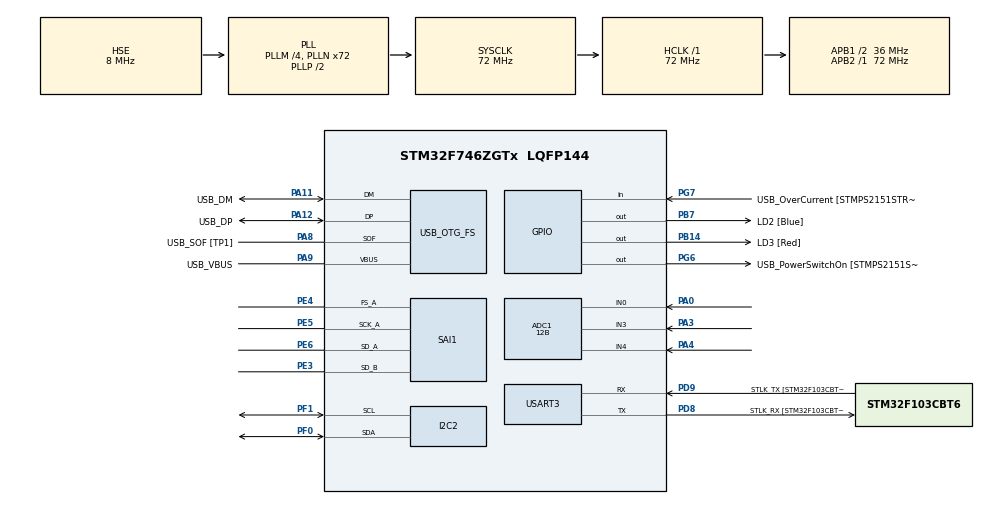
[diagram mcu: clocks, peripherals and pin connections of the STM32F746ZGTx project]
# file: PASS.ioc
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ADC1.Channel-3\#ChannelRegularConversion=ADC_CHANNEL_0
ADC1.Channel-4\#ChannelRegularConversion=ADC_CHANNEL_3
ADC1.Channel-5\#ChannelRegularConversion=ADC_CHANNEL_4
ADC1.ClockPrescaler=ADC_CLOCK_SYNC_PCLK_DIV2
ADC1.ContinuousConvMode=ENABLE
ADC1.DMAContinuousRequests=DISABLE
ADC1.DiscontinuousConvMode=DISABLE
ADC1.EOCSelection=ADC_EOC_SINGLE_CONV
ADC1.NbrOfConversion=3
ADC1.NbrOfConversionFlag=1
ADC1.Rank-3\#ChannelRegularConversion=1
ADC1.Rank-4\#ChannelRegularConversion=2
ADC1.Rank-5\#ChannelRegularConversion=3
ADC1.Resolution=ADC_RESOLUTION_12B
ADC1.SamplingTime-3\#ChannelRegularConversion=ADC_SAMPLETIME_3CYCLES
ADC1.SamplingTime-4\#ChannelRegularConversion=ADC_SAMPLETIME_3CYCLES
ADC1.SamplingTime-5\#ChannelRegularConversion=ADC_SAMPLETIME_3CYCLES
ADC1.master=1
Dma.Request0=SAI1_A
Dma.Request1=SAI1_B
Dma.SAI1_A.0.Direction=DMA_MEMORY_TO_PERIPH
Dma.SAI1_A.0.FIFOMode=DMA_FIFOMODE_DISABLE
Dma.SAI1_A.0.Instance=DMA2_Stream1
Dma.SAI1_A.0.MemDataAlignment=DMA_MDATAALIGN_WORD
Dma.SAI1_A.0.MemInc=DMA_MINC_ENABLE
Dma.SAI1_A.0.Mode=DMA_CIRCULAR
Dma.SAI1_A.0.PeriphDataAlignment=DMA_PDATAALIGN_WORD
Dma.SAI1_A.0.PeriphInc=DMA_PINC_DISABLE
Dma.SAI1_A.0.Priority=DMA_PRIORITY_VERY_HIGH
Dma.SAI1_B.1.Direction=DMA_MEMORY_TO_PERIPH
Dma.SAI1_B.1.FIFOMode=DMA_FIFOMODE_DISABLE
Dma.SAI1_B.1.Instance=DMA2_Stream4
Dma.SAI1_B.1.MemDataAlignment=DMA_MDATAALIGN_WORD
Dma.SAI1_B.1.MemInc=DMA_MINC_ENABLE
Dma.SAI1_B.1.Mode=DMA_CIRCULAR
Dma.SAI1_B.1.PeriphDataAlignment=DMA_PDATAALIGN_WORD
Dma.SAI1_B.1.PeriphInc=DMA_PINC_DISABLE
Dma.SAI1_B.1.Priority=DMA_PRIORITY_VERY_HIGH
I2C2.Speed=20
I2C2.Timing=0x601015E9
Mcu.Family=STM32F7
Mcu.Name=STM32F746ZGTx
Mcu.Package=LQFP144
NVIC.DMA2_Stream1_IRQn=true\:0\:0\:false\:false\:true\:false\:true\:true
NVIC.DMA2_Stream4_IRQn=true\:0\:0\:false\:false\:true\:false\:true\:true
NVIC.PriorityGroup=NVIC_PRIORITYGROUP_4
NVIC.SAI1_IRQn=true\:0\:0\:false\:false\:true\:true\:true\:true
NVIC.USART3_IRQn=true\:0\:0\:false\:false\:true\:true\:true\:true
PA0/WKUP.Signal=ADCx_IN0
PA10.GPIO_Label=USB_ID
PA10.Signal=USB_OTG_FS_ID
PA11.GPIO_Label=USB_DM
PA11.Mode=Device_Only
PA11.Signal=USB_OTG_FS_DM
PA12.GPIO_Label=USB_DP
PA12.Mode=Device_Only
PA12.Signal=USB_OTG_FS_DP
PA13.GPIO_Label=TMS
PA13.Mode=Serial_Wire
PA13.Signal=SYS_JTMS-SWDIO
PA14.GPIO_Label=TCK
PA14.Mode=Serial_Wire
PA14.Signal=SYS_JTCK-SWCLK
PA3.Signal=ADCx_IN3
PA4.Signal=ADCx_IN4
PA8.GPIO_Label=USB_SOF [TP1]
PA8.Mode=Activate_SOF_FS
PA8.Signal=USB_OTG_FS_SOF
PA9.GPIO_Label=USB_VBUS
PA9.Mode=Activate_VBUS
PA9.Signal=USB_OTG_FS_VBUS
PB13.GPIO_Label=RMII_TXD1 [LAN8742A-CZ-TR_TXD1]
PB13.Signal=ETH_TXD1
PB14.GPIO_Label=LD3 [Red]
PB14.GPIO_ModeDefaultOutputPP=GPIO_MODE_OUTPUT_OD
PB14.GPIO_PuPd=GPIO_NOPULL
PB14.Signal=GPIO_Output
PB7.GPIO_Label=LD2 [Blue]
PB7.Signal=GPIO_Output
PC14/OSC32_IN.Mode=LSE-External-Oscillator
PC14/OSC32_IN.Signal=RCC_OSC32_IN
PC15/OSC32_OUT.Mode=LSE-External-Oscillator
PC15/OSC32_OUT.Signal=RCC_OSC32_OUT
PD8.GPIO_Label=STLK_RX [STM32F103CBT6_PA3]
PD8.GPIO_PuPd=GPIO_PULLUP
PD8.Mode=Asynchronous
PD8.Signal=USART3_TX
PD9.GPIO_Label=STLK_TX [STM32F103CBT6_PA2]
PD9.GPIO_PuPd=GPIO_PULLUP
PD9.Mode=Asynchronous
PD9.Signal=USART3_RX
PE3.GPIO_Speed=GPIO_SPEED_FREQ_VERY_HIGH
PE3.Mode=SAI_B_SyncSlave
PE3.Signal=SAI1_SD_B
PE4.GPIO_PuPd=GPIO_NOPULL
PE4.GPIO_Speed=GPIO_SPEED_FREQ_VERY_HIGH
PE4.Mode=SAI_A_Master
PE4.Signal=SAI1_FS_A
PE5.GPIO_Mode=GPIO_MODE_AF_PP
PE5.GPIO_PuPd=GPIO_NOPULL
PE5.GPIO_Speed=GPIO_SPEED_FREQ_VERY_HIGH
PE5.Mode=SAI_A_Master
PE5.Signal=SAI1_SCK_A
PE6.GPIO_PuPd=GPIO_NOPULL
PE6.GPIO_Speed=GPIO_SPEED_FREQ_VERY_HIGH
PE6.Mode=SAI_A_Master
PE6.Signal=SAI1_SD_A
PF0.Mode=I2C
PF0.Signal=I2C2_SDA
PF1.Mode=I2C
PF1.Signal=I2C2_SCL
PG6.GPIO_Label=USB_PowerSwitchOn [STMPS2151STR_EN]
PG6.Signal=GPIO_Output
PG7.GPIO_Label=USB_OverCurrent [STMPS2151STR_FAULT]
PG7.Signal=GPIO_Input
PH0/OSC_IN.GPIO_Label=MCO [STM32F103CBT6_PA8]
PH0/OSC_IN.Mode=HSE-External-Clock-Source
PH0/OSC_IN.Signal=RCC_OSC_IN
PH1/OSC_OUT.Mode=HSE-External-Clock-Source
PH1/OSC_OUT.Signal=RCC_OSC_OUT
ProjectManager.HeapSize=0x200
ProjectManager.StackSize=0x400
ProjectManager.TargetToolchain=STM32CubeIDE
RCC.48MHZClocksFreq_Value=24000000
RCC.AHBFreq_Value=72000000
RCC.APB1CLKDivider=RCC_HCLK_DIV2
RCC.APB1Freq_Value=36000000
RCC.APB1TimFreq_Value=72000000
RCC.APB2Freq_Value=72000000
RCC.APB2TimFreq_Value=72000000
RCC.CortexFreq_Value=72000000
RCC.HCLKFreq_Value=72000000
RCC.HSE_VALUE=8000000
RCC.HSI_VALUE=16000000
RCC.PLLM=4
RCC.PLLMUL=RCC_PLL_MUL9
RCC.PLLN=72
RCC.PLLQ=3
RCC.PLLSAIN=50
RCC.PRESCALERUSB=RCC_USBCLKSOURCE_PLL_DIV1_5
RCC.SYSCLKFreq_VALUE=72000000
RCC.SYSCLKSource=RCC_SYSCLKSOURCE_PLLCLK
RCC.SYSCLKSourceVirtual=RCC_SYSCLKSOURCE_PLLCLK
RCC.USBFreq_Value=48000000
RCC.VCOOutputFreq_Value=144000000
SAI1.ActiveFrameLength-SAI_A_Master=1
SAI1.ActiveFrameLength-SAI_B_SyncSlave=1
SAI1.AudioFrequency-SAI_A_Master=SAI_AUDIO_FREQUENCY_MCKDIV
SAI1.AudioMode-SAI_B_SyncSlave=SAI_MODESLAVE_TX
SAI1.ClockStrobing-SAI_A_Master=SAI_CLOCKSTROBING_FALLINGEDGE
SAI1.ClockStrobing-SAI_B_SyncSlave=SAI_CLOCKSTROBING_RISINGEDGE
SAI1.DataSize-SAI_A_Master=SAI_DATASIZE_16
SAI1.DataSize-SAI_B_SyncSlave=SAI_DATASIZE_16
SAI1.ErrorAudioFreq-SAI_A_Master=1.72 %
SAI1.FSDefinition-SAI_A_Master=SAI_FS_CHANNEL_IDENTIFICATION
SAI1.FSDefinition-SAI_B_SyncSlave=SAI_FS_CHANNEL_IDENTIFICATION
SAI1.FSOffset-SAI_A_Master=SAI_FS_BEFOREFIRSTBIT
SAI1.FSOffset-SAI_B_SyncSlave=SAI_FS_BEFOREFIRSTBIT
SAI1.FSPolarity-SAI_A_Master=SAI_FS_ACTIVE_HIGH
SAI1.FSPolarity-SAI_B_SyncSlave=SAI_FS_ACTIVE_HIGH
SAI1.FrameLength-SAI_A_Master=256
SAI1.FrameLength-SAI_B_SyncSlave=256
SAI1.Instance-SAI_A_Master=SAI$Index_Block_A
SAI1.Instance-SAI_B_SyncSlave=SAI$Index_Block_B
SAI1.MClockEnable-SAI_A_Master=SAI_MASTERCLOCK_DISABLE
SAI1.Mckdiv-SAI_A_Master=7
SAI1.RealAudioFreq-SAI_A_Master=13.95 KHz
SAI1.SlotActive-SAI_A_Master=0x0000FFFF
SAI1.SlotActive-SAI_B_SyncSlave=0x0000FFFF
SAI1.SlotNumber-SAI_A_Master=16
SAI1.SlotNumber-SAI_B_SyncSlave=16
SAI1.VirtualMode-SAI_A_Master=VM_MASTER
SAI1.VirtualMode-SAI_B_SyncSlave=VM_SLAVE
SAI1.VirtualSlotActive-SAI_A_Master=SAI_SLOTACTIVE_ALL
SAI1.VirtualSlotActive-SAI_B_SyncSlave=SAI_SLOTACTIVE_ALL
SH.ADCx_IN0.0=ADC1_IN0,IN0
SH.ADCx_IN3.0=ADC1_IN3,IN3
SH.ADCx_IN4.0=ADC1_IN4,IN4
USART3.VirtualMode-Asynchronous=VM_ASYNC
USB_OTG_FS.VirtualMode=Device_Only
board=NUCLEO-F746ZG

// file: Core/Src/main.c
/* USER CODE BEGIN Header */
/**
  ******************************************************************************
  * @file           : main.c
  * @brief          : Main program body
  ******************************************************************************
  * @attention
  *
  * Copyright (c) 2024 STMicroelectronics.
  * All rights reserved.
  *
  * This software is licensed under terms that can be found in the LICENSE file
  * in the root directory of this software component.
  * If no LICENSE file comes with this software, it is provided AS-IS.
  *
  ******************************************************************************
  */
/* USER CODE END Header */
#include "main.h"

/* USER CODE BEGIN Includes */
#include <string.h>
//#include "stm32f7xx_ll_usart.h"
//#include "stm32f7xx_hal.h"
#include "stm32f7xx_hal_uart.h"
//#include <string.h>
//#include <stdio.h>
//#include <stdlib.h>
//#include <sys/types.h>
//#include <unistd.h>
/* USER CODE END Includes */

ADC_HandleTypeDef hadc1;

I2C_HandleTypeDef hi2c2;

SAI_HandleTypeDef hsai_BlockA1;
SAI_HandleTypeDef hsai_BlockB1;
DMA_HandleTypeDef hdma_sai1_a;
DMA_HandleTypeDef hdma_sai1_b;

UART_HandleTypeDef huart3;

PCD_HandleTypeDef hpcd_USB_OTG_FS;

void SystemClock_Config(void);
void PeriphCommonClock_Config(void);
static void MX_GPIO_Init(void);
static void MX_DMA_Init(void);
static void MX_SAI1_Init(void);
static void MX_USB_OTG_FS_PCD_Init(void);
static void MX_I2C2_Init(void);
static void MX_USART3_UART_Init(void);
static void MX_ADC1_Init(void);

/* USER CODE BEGIN 0 */
#define AUDIO_LOW_BUF_SIZE 180
#define AUDIO_HIGH_BUF_SIZE 15* 20
#define MAX(x, y) (((x) > (y)) ? (x) : (y))
#define MIN(x, y) (((x) < (y)) ? (x) : (y))
uint16_t adc_get[2];
uint32_t sai_fifo_a[16];
uint32_t sai_fifo_b[16];
uint16_t audio_buf_low[AUDIO_LOW_BUF_SIZE];
//uint16_t audio_buf_high[AUDIO_HIGH_BUF_SIZE];
int32_t delay = 0;

// UART SERIAL COMMUNICATION
UART_HandleTypeDef huart3;
//uint8_t receivedData; // Declare receivedData globally
volatile char receivedData;
uint64_t counter = 0;
#define MAX_COMMAND_LENGTH 100
char commandBuffer[MAX_COMMAND_LENGTH];
int commandLength = 0;
int USB_input = 0;
// TEST
volatile uint8_t uart3_rx_byte;

// Function prototypes
static void MX_USART3_UART_Init(void);
void HAL_UART_RxCpltCallback(UART_HandleTypeDef *huart);

uint16_t read_ADC_Channel(ADC_HandleTypeDef* hadc, int channel) {
	ADC_ChannelConfTypeDef chConfig = { 0 };
	chConfig.Channel = channel;
	chConfig.Rank = 1;
	chConfig.SamplingTime = ADC_SAMPLETIME_3CYCLES;
	HAL_ADC_ConfigChannel(hadc, &chConfig);
	HAL_ADC_Start(hadc);
	int status = HAL_ADC_PollForConversion(hadc, HAL_MAX_DELAY);
		  if (status != HAL_OK) {
			Error_Handler();
		  }
	uint16_t val = HAL_ADC_GetValue(hadc);
//	HAL_ADC_Stop(hadc);

	return val;
}

void HAL_SAI_TxCpltCallback(SAI_HandleTypeDef *hsai) {

	static int circ_offset_low = 0;
	static int circ_offset_high = 0;

	if(hsai == &hsai_BlockB1) return;

	__disable_irq();
	adc_get[0] = read_ADC_Channel(&hadc1, 0);
	adc_get[1] = read_ADC_Channel(&hadc1, 3);
	delay = (read_ADC_Channel(&hadc1, 4) - 2000) * 7 / 2048;

//	audio_buf_high[circ_offset_high] = (adc_get[0] << 4) - (1 << 15);
	audio_buf_low[circ_offset_low] = (adc_get[1] << 4) - (1 << 15);

	circ_offset_high = (circ_offset_high + 1) % AUDIO_HIGH_BUF_SIZE;
	circ_offset_low = (circ_offset_low + 1) % AUDIO_LOW_BUF_SIZE;

	int buf_index;
	//Fill the 12 subwoofers
	for(int i = 0; i < 12; i ++) {
		buf_index = (delay * i + (AUDIO_LOW_BUF_SIZE >> 1) + circ_offset_low) % AUDIO_LOW_BUF_SIZE;
		buf_index = MAX(buf_index, 0);
		sai_fifo_a[i] = audio_buf_low[buf_index];
	}
	//Fill the first 4 tweeters into the remaining space in DAC 1
//	for(int i = 12; i < 16; i ++) {
//		buf_index = delay * i + (AUDIO_HIGH_BUF_SIZE >> 1);
//		buf_index = MIN(AUDIO_HIGH_BUF_SIZE, MAX(buf_index, 0));
//		sai_fifo_a[i] = audio_buf_high[buf_index];
//	}
//	//Fill the remaining 16 tweeters into DAC 2
//	for(int i = 16; i < 32; i ++) {
//		buf_index = delay * i + (AUDIO_HIGH_BUF_SIZE  >> 1);
//		buf_index = MIN(AUDIO_HIGH_BUF_SIZE, MAX(buf_index, 0));
//		sai_fifo_b[i - 16] = audio_buf_high[buf_index];
//	}
	__enable_irq();
////	char msg[100];
////	sprintf(msg, "adc1 is %d; ", adc_get[0]);
////
////	char msg1[100];
////	sprintf(msg1, "adc2 is %d\r\n", adc_get[1]);
////	HAL_UART_Transmit(&huart3, msg, strlen((char*)msg), HAL_MAX_DELAY);
////	HAL_UART_Transmit(&huart3, msg1, strlen((char*)msg1), HAL_MAX_DELAY);

}

#define DAC1_ADDR 0x04
#define DAC2_ADDR 0x24
#define DAC_MUTE1 0x09
#define PLL_CLK_CTRL0 0x00
#define DAC_CTRL0 0x06
#define DAC_CTRL1 0x07
#define DAC_CTRL2 0x08

uint8_t mute_data_DAC1 = 0x0;	//0 is normal operation, 1 is muted
uint8_t mute_data_DAC2 = 0x0;
uint8_t pll_clk_data = 0b01000001; //assert reset and pllin = 01 to use DLRCLK reference
uint8_t dac_ctrl0 = 0b01100000;
uint8_t dac_ctrl1 = 0b10000100;
uint8_t dac_ctrl2 = 0b10000;

void write_DAC1(uint8_t reg, uint8_t* data) {
	HAL_StatusTypeDef ret = HAL_I2C_Mem_Write(&hi2c2, DAC1_ADDR << 1, reg,
            1, data, 1, HAL_MAX_DELAY);
	char str_fail[100];
	char str_success[100] = "Success on DAC1!\r\n";
	if (ret != HAL_OK) {
		sprintf(str_fail, "Error is %d on DAC1; Register=0x%02X, Data=0x%02x\r\n", HAL_I2C_GetError(&hi2c2), reg, *data);
		HAL_UART_Transmit(&huart3, str_fail, strlen((char*)str_fail), HAL_MAX_DELAY);
	} else {
		HAL_UART_Transmit(&huart3, str_success, strlen((char*)str_success), HAL_MAX_DELAY);
	}
}

void write_DAC2(uint8_t reg, uint8_t* data) {
	HAL_StatusTypeDef ret = HAL_I2C_Mem_Write(&hi2c2, DAC2_ADDR << 1, reg,
            1, data, 1, HAL_MAX_DELAY);
	char str_fail[100];
	char str_success[100] = "Success occured!\r\n";
	if (ret != HAL_OK) {
		sprintf(str_fail, "Error is %d on DAC2; Register=0x%02X, Data=0x%02x\r\n", HAL_I2C_GetError(&hi2c2), reg, *data);
		HAL_UART_Transmit(&huart3, str_fail, strlen((char*)str_fail), HAL_MAX_DELAY);
	} else {
		HAL_UART_Transmit(&huart3, str_success, strlen((char*)str_success), HAL_MAX_DELAY);
	}
}

// UART INTERRUPT SERIAL COM
void HAL_UART_RxCpltCallback(UART_HandleTypeDef *huart)
{
	// ECHO TEST
	//if (huart->Instance == USART3) // Check if the interrupt comes from UART3
	    //{
			//char uit[24] = "TEST 1234 !!!!\r\n";
			//HAL_UART_Transmit(&huart3, uit, strlen((char*)uit), HAL_MAX_DELAY);
	        // Echo the received byte back
	        //HAL_UART_Transmit(&huart3, (uint8_t *)&uart3_rx_byte, 1, 10);

	        // Re-enable the UART receive interrupt
	        //HAL_UART_Receive_IT(&huart3, (uint8_t *)&uart3_rx_byte, 1);
	    //}

    if (huart->Instance == USART3)  // Check which UART generated the interrupt (3)
    {
        // Append the received character to the buffer, if it's not the newline
        // Also check if we haven't exceeded our buffer size (100 for now)
        if (receivedData != '\n' && commandLength < MAX_COMMAND_LENGTH - 1)
        {
            commandBuffer[commandLength++] = receivedData;
        }
        else if (receivedData == '\n')  // Received a newline character
        {
            // Ensure the string is null-terminated
            commandBuffer[commandLength] = '\0';

            if (commandLength > 0) {  // Check if there's something to process

            	// Test print
                char response[MAX_COMMAND_LENGTH + 20];  // Allocate enough space for response message
                sprintf(response, "Received command: %s\n", commandBuffer);
                HAL_UART_Transmit(&huart3, (uint8_t*)response, strlen(response), HAL_MAX_DELAY);

                // // // PROCESS COMMAND HERE // // //

                if (commandBuffer[0] == 'T' && commandLength == 1){
                    HAL_GPIO_TogglePin(GPIOB, GPIO_PIN_7);
                }

            }

            // Reset the buffer and counter for the next command
            memset(commandBuffer, 0, MAX_COMMAND_LENGTH);
            commandLength = 0;
        }

        // Prepare to receive the next character regardless
        HAL_UART_Receive_IT(&huart3, (uint8_t*)&receivedData, 1);
    }
}

/* USER CODE END 0 */

int main(void)
{

  /* MCU Configuration--------------------------------------------------------*/

  /* Reset of all peripherals, Initializes the Flash interface and the Systick. */
  HAL_Init();

  /* Configure the system clock */
  SystemClock_Config();

/* Configure the peripherals common clocks */
  PeriphCommonClock_Config();

  /* Initialize all configured peripherals */
  MX_GPIO_Init();
  MX_DMA_Init();
  MX_SAI1_Init();
  MX_USB_OTG_FS_PCD_Init();
  MX_I2C2_Init();
  MX_USART3_UART_Init();
  MX_ADC1_Init();

  HAL_UART_Receive_IT(&huart3, (uint8_t *)&uart3_rx_byte, 1);

  /* Infinite loop */
  /* USER CODE BEGIN WHILE */

  __disable_irq();
//  HAL_ADC_Start_DMA(&hadc1, &adc_get, 2);
  sai_fifo_a[0] = 0x7000U;
  sai_fifo_b[0] = 0x7000U;
  int error;
  error = HAL_SAI_Transmit_DMA(&hsai_BlockA1, (uint32_t * )&sai_fifo_a, 16);
  char error_msg[50];
  sprintf(error_msg, "Error is %d on DMA1\r\n", error);
  HAL_UART_Transmit(&huart3, error_msg, strlen((char*)error_msg), HAL_MAX_DELAY);

  error = HAL_SAI_Transmit_DMA(&hsai_BlockB1, (uint32_t * )&sai_fifo_b, 16);
  sprintf(error_msg, "Error is %d on DMA2\r\n", error);
  HAL_UART_Transmit(&huart3, error_msg, strlen((char*)error_msg), HAL_MAX_DELAY);

  //HAL_Delay(1000);

  sprintf(error_msg, "UART good!\r\n");

  HAL_UART_Transmit(&huart3, error_msg, strlen((char*)error_msg), HAL_MAX_DELAY);

  write_DAC1(PLL_CLK_CTRL0, &pll_clk_data);
  write_DAC1(DAC_MUTE1, &mute_data_DAC1);
  write_DAC1(DAC_CTRL0, &dac_ctrl0);
  write_DAC1(DAC_CTRL1, &dac_ctrl1);
  write_DAC1(DAC_CTRL2, &dac_ctrl2);

  write_DAC2(PLL_CLK_CTRL0, &pll_clk_data);
  write_DAC2(DAC_MUTE1, &mute_data_DAC2);
  write_DAC2(DAC_CTRL0, &dac_ctrl0);
  write_DAC2(DAC_CTRL1, &dac_ctrl1);
  write_DAC2(DAC_CTRL2, &dac_ctrl2);

  __enable_irq();

  // Start reception with interrupt
  HAL_UART_Receive_IT(&huart3, &receivedData, 1);
  while (1)
  {

    /* USER CODE END WHILE */

  }
}

void SystemClock_Config(void)
{
  RCC_OscInitTypeDef RCC_OscInitStruct = {0};
  RCC_ClkInitTypeDef RCC_ClkInitStruct = {0};

  /** Configure LSE Drive Capability
  */
  HAL_PWR_EnableBkUpAccess();

  /** Configure the main internal regulator output voltage
  */
  __HAL_RCC_PWR_CLK_ENABLE();
  __HAL_PWR_VOLTAGESCALING_CONFIG(PWR_REGULATOR_VOLTAGE_SCALE3);

  /** Initializes the RCC Oscillators according to the specified parameters
  * in the RCC_OscInitTypeDef structure.
  */
  RCC_OscInitStruct.OscillatorType = RCC_OSCILLATORTYPE_HSE;
  RCC_OscInitStruct.HSEState = RCC_HSE_BYPASS;
  RCC_OscInitStruct.PLL.PLLState = RCC_PLL_ON;
  RCC_OscInitStruct.PLL.PLLSource = RCC_PLLSOURCE_HSE;
  RCC_OscInitStruct.PLL.PLLM = 4;
  RCC_OscInitStruct.PLL.PLLN = 72;
  RCC_OscInitStruct.PLL.PLLP = RCC_PLLP_DIV2;
  RCC_OscInitStruct.PLL.PLLQ = 3;
  if (HAL_RCC_OscConfig(&RCC_OscInitStruct) != HAL_OK)
  {
    Error_Handler();
  }

  /** Initializes the CPU, AHB and APB buses clocks
  */
  RCC_ClkInitStruct.ClockType = RCC_CLOCKTYPE_HCLK|RCC_CLOCKTYPE_SYSCLK
                              |RCC_CLOCKTYPE_PCLK1|RCC_CLOCKTYPE_PCLK2;
  RCC_ClkInitStruct.SYSCLKSource = RCC_SYSCLKSOURCE_PLLCLK;
  RCC_ClkInitStruct.AHBCLKDivider = RCC_SYSCLK_DIV1;
  RCC_ClkInitStruct.APB1CLKDivider = RCC_HCLK_DIV2;
  RCC_ClkInitStruct.APB2CLKDivider = RCC_HCLK_DIV1;

  if (HAL_RCC_ClockConfig(&RCC_ClkInitStruct, FLASH_LATENCY_2) != HAL_OK)
  {
    Error_Handler();
  }
}

void PeriphCommonClock_Config(void)
{
  RCC_PeriphCLKInitTypeDef PeriphClkInitStruct = {0};

  /** Initializes the peripherals clock
  */
  PeriphClkInitStruct.PeriphClockSelection = RCC_PERIPHCLK_SAI1|RCC_PERIPHCLK_CLK48;
  PeriphClkInitStruct.PLLSAI.PLLSAIN = 50;
  PeriphClkInitStruct.PLLSAI.PLLSAIR = 2;
  PeriphClkInitStruct.PLLSAI.PLLSAIQ = 2;
  PeriphClkInitStruct.PLLSAI.PLLSAIP = RCC_PLLSAIP_DIV2;
  PeriphClkInitStruct.PLLSAIDivQ = 1;
  PeriphClkInitStruct.PLLSAIDivR = RCC_PLLSAIDIVR_2;
  PeriphClkInitStruct.Sai1ClockSelection = RCC_SAI1CLKSOURCE_PLLSAI;
  if (HAL_RCCEx_PeriphCLKConfig(&PeriphClkInitStruct) != HAL_OK)
  {
    Error_Handler();
  }
}

static void MX_ADC1_Init(void)
{

  ADC_ChannelConfTypeDef sConfig = {0};

  /** Configure the global features of the ADC (Clock, Resolution, Data Alignment and number of conversion)
  */
  hadc1.Instance = ADC1;
  hadc1.Init.ClockPrescaler = ADC_CLOCK_SYNC_PCLK_DIV2;
  hadc1.Init.Resolution = ADC_RESOLUTION_12B;
  hadc1.Init.ScanConvMode = ADC_SCAN_ENABLE;
  hadc1.Init.ContinuousConvMode = ENABLE;
  hadc1.Init.DiscontinuousConvMode = DISABLE;
  hadc1.Init.ExternalTrigConvEdge = ADC_EXTERNALTRIGCONVEDGE_NONE;
  hadc1.Init.ExternalTrigConv = ADC_SOFTWARE_START;
  hadc1.Init.DataAlign = ADC_DATAALIGN_RIGHT;
  hadc1.Init.NbrOfConversion = 3;
  hadc1.Init.DMAContinuousRequests = DISABLE;
  hadc1.Init.EOCSelection = ADC_EOC_SINGLE_CONV;
  if (HAL_ADC_Init(&hadc1) != HAL_OK)
  {
    Error_Handler();
  }

  /** Configure for the selected ADC regular channel its corresponding rank in the sequencer and its sample time.
  */
  sConfig.Channel = ADC_CHANNEL_0;
  sConfig.Rank = ADC_REGULAR_RANK_1;
  sConfig.SamplingTime = ADC_SAMPLETIME_3CYCLES;
  if (HAL_ADC_ConfigChannel(&hadc1, &sConfig) != HAL_OK)
  {
    Error_Handler();
  }

  /** Configure for the selected ADC regular channel its corresponding rank in the sequencer and its sample time.
  */
  sConfig.Channel = ADC_CHANNEL_3;
  sConfig.Rank = ADC_REGULAR_RANK_2;
  if (HAL_ADC_ConfigChannel(&hadc1, &sConfig) != HAL_OK)
  {
    Error_Handler();
  }

  /** Configure for the selected ADC regular channel its corresponding rank in the sequencer and its sample time.
  */
  sConfig.Channel = ADC_CHANNEL_4;
  sConfig.Rank = ADC_REGULAR_RANK_3;
  if (HAL_ADC_ConfigChannel(&hadc1, &sConfig) != HAL_OK)
  {
    Error_Handler();
  }

}

static void MX_I2C2_Init(void)
{

  hi2c2.Instance = I2C2;
  hi2c2.Init.Timing = 0x601015E9;
  hi2c2.Init.OwnAddress1 = 0;
  hi2c2.Init.AddressingMode = I2C_ADDRESSINGMODE_7BIT;
  hi2c2.Init.DualAddressMode = I2C_DUALADDRESS_DISABLE;
  hi2c2.Init.OwnAddress2 = 0;
  hi2c2.Init.OwnAddress2Masks = I2C_OA2_NOMASK;
  hi2c2.Init.GeneralCallMode = I2C_GENERALCALL_DISABLE;
  hi2c2.Init.NoStretchMode = I2C_NOSTRETCH_DISABLE;
  if (HAL_I2C_Init(&hi2c2) != HAL_OK)
  {
    Error_Handler();
  }

  /** Configure Analogue filter
  */
  if (HAL_I2CEx_ConfigAnalogFilter(&hi2c2, I2C_ANALOGFILTER_ENABLE) != HAL_OK)
  {
    Error_Handler();
  }

  /** Configure Digital filter
  */
  if (HAL_I2CEx_ConfigDigitalFilter(&hi2c2, 0) != HAL_OK)
  {
    Error_Handler();
  }

}

static void MX_SAI1_Init(void)
{

  hsai_BlockA1.Instance = SAI1_Block_A;
  hsai_BlockA1.Init.Protocol = SAI_FREE_PROTOCOL;
  hsai_BlockA1.Init.AudioMode = SAI_MODEMASTER_TX;
  hsai_BlockA1.Init.DataSize = SAI_DATASIZE_16;
  hsai_BlockA1.Init.FirstBit = SAI_FIRSTBIT_MSB;
  hsai_BlockA1.Init.ClockStrobing = SAI_CLOCKSTROBING_FALLINGEDGE;
  hsai_BlockA1.Init.Synchro = SAI_ASYNCHRONOUS;
  hsai_BlockA1.Init.OutputDrive = SAI_OUTPUTDRIVE_DISABLE;
  hsai_BlockA1.Init.NoDivider = SAI_MASTERDIVIDER_ENABLE;
  hsai_BlockA1.Init.FIFOThreshold = SAI_FIFOTHRESHOLD_EMPTY;
  hsai_BlockA1.Init.AudioFrequency = SAI_AUDIO_FREQUENCY_MCKDIV;
  hsai_BlockA1.Init.Mckdiv = 7;
  hsai_BlockA1.Init.SynchroExt = SAI_SYNCEXT_DISABLE;
  hsai_BlockA1.Init.MonoStereoMode = SAI_STEREOMODE;
  hsai_BlockA1.Init.CompandingMode = SAI_NOCOMPANDING;
  hsai_BlockA1.Init.TriState = SAI_OUTPUT_NOTRELEASED;
  hsai_BlockA1.FrameInit.FrameLength = 256;
  hsai_BlockA1.FrameInit.ActiveFrameLength = 1;
  hsai_BlockA1.FrameInit.FSDefinition = SAI_FS_CHANNEL_IDENTIFICATION;
  hsai_BlockA1.FrameInit.FSPolarity = SAI_FS_ACTIVE_HIGH;
  hsai_BlockA1.FrameInit.FSOffset = SAI_FS_BEFOREFIRSTBIT;
  hsai_BlockA1.SlotInit.FirstBitOffset = 0;
  hsai_BlockA1.SlotInit.SlotSize = SAI_SLOTSIZE_DATASIZE;
  hsai_BlockA1.SlotInit.SlotNumber = 16;
  hsai_BlockA1.SlotInit.SlotActive = 0x0000FFFF;
  if (HAL_SAI_Init(&hsai_BlockA1) != HAL_OK)
  {
    Error_Handler();
  }
  hsai_BlockB1.Instance = SAI1_Block_B;
  hsai_BlockB1.Init.Protocol = SAI_FREE_PROTOCOL;
  hsai_BlockB1.Init.AudioMode = SAI_MODESLAVE_TX;
  hsai_BlockB1.Init.DataSize = SAI_DATASIZE_16;
  hsai_BlockB1.Init.FirstBit = SAI_FIRSTBIT_MSB;
  hsai_BlockB1.Init.ClockStrobing = SAI_CLOCKSTROBING_RISINGEDGE;
  hsai_BlockB1.Init.Synchro = SAI_SYNCHRONOUS;
  hsai_BlockB1.Init.OutputDrive = SAI_OUTPUTDRIVE_DISABLE;
  hsai_BlockB1.Init.FIFOThreshold = SAI_FIFOTHRESHOLD_EMPTY;
  hsai_BlockB1.Init.SynchroExt = SAI_SYNCEXT_DISABLE;
  hsai_BlockB1.Init.MonoStereoMode = SAI_STEREOMODE;
  hsai_BlockB1.Init.CompandingMode = SAI_NOCOMPANDING;
  hsai_BlockB1.Init.TriState = SAI_OUTPUT_NOTRELEASED;
  hsai_BlockB1.FrameInit.FrameLength = 256;
  hsai_BlockB1.FrameInit.ActiveFrameLength = 1;
  hsai_BlockB1.FrameInit.FSDefinition = SAI_FS_CHANNEL_IDENTIFICATION;
  hsai_BlockB1.FrameInit.FSPolarity = SAI_FS_ACTIVE_HIGH;
  hsai_BlockB1.FrameInit.FSOffset = SAI_FS_BEFOREFIRSTBIT;
  hsai_BlockB1.SlotInit.FirstBitOffset = 0;
  hsai_BlockB1.SlotInit.SlotSize = SAI_SLOTSIZE_DATASIZE;
  hsai_BlockB1.SlotInit.SlotNumber = 16;
  hsai_BlockB1.SlotInit.SlotActive = 0x0000FFFF;
  if (HAL_SAI_Init(&hsai_BlockB1) != HAL_OK)
  {
    Error_Handler();
  }

}

static void MX_USART3_UART_Init(void)
{

  huart3.Instance = USART3;
  huart3.Init.BaudRate = 115200;
  huart3.Init.WordLength = UART_WORDLENGTH_8B;
  huart3.Init.StopBits = UART_STOPBITS_1;
  huart3.Init.Parity = UART_PARITY_NONE;
  huart3.Init.Mode = UART_MODE_TX_RX;
  huart3.Init.HwFlowCtl = UART_HWCONTROL_NONE;
  huart3.Init.OverSampling = UART_OVERSAMPLING_16;
  huart3.Init.OneBitSampling = UART_ONE_BIT_SAMPLE_DISABLE;
  huart3.AdvancedInit.AdvFeatureInit = UART_ADVFEATURE_NO_INIT;
  if (HAL_UART_Init(&huart3) != HAL_OK)
  {
    Error_Handler();
  }

}

static void MX_USB_OTG_FS_PCD_Init(void)
{

  hpcd_USB_OTG_FS.Instance = USB_OTG_FS;
  hpcd_USB_OTG_FS.Init.dev_endpoints = 6;
  hpcd_USB_OTG_FS.Init.speed = PCD_SPEED_FULL;
  hpcd_USB_OTG_FS.Init.dma_enable = DISABLE;
  hpcd_USB_OTG_FS.Init.phy_itface = PCD_PHY_EMBEDDED;
  hpcd_USB_OTG_FS.Init.Sof_enable = ENABLE;
  hpcd_USB_OTG_FS.Init.low_power_enable = DISABLE;
  hpcd_USB_OTG_FS.Init.lpm_enable = DISABLE;
  hpcd_USB_OTG_FS.Init.vbus_sensing_enable = ENABLE;
  hpcd_USB_OTG_FS.Init.use_dedicated_ep1 = DISABLE;
  if (HAL_PCD_Init(&hpcd_USB_OTG_FS) != HAL_OK)
  {
    Error_Handler();
  }

}

static void MX_DMA_Init(void)
{

  /* DMA controller clock enable */
  __HAL_RCC_DMA2_CLK_ENABLE();

  /* DMA interrupt init */
  /* DMA2_Stream1_IRQn interrupt configuration */
  HAL_NVIC_SetPriority(DMA2_Stream1_IRQn, 0, 0);
  HAL_NVIC_EnableIRQ(DMA2_Stream1_IRQn);
  /* DMA2_Stream4_IRQn interrupt configuration */
  HAL_NVIC_SetPriority(DMA2_Stream4_IRQn, 0, 0);
  HAL_NVIC_EnableIRQ(DMA2_Stream4_IRQn);

}

static void MX_GPIO_Init(void)
{
  GPIO_InitTypeDef GPIO_InitStruct = {0};

  /* GPIO Ports Clock Enable */
  __HAL_RCC_GPIOE_CLK_ENABLE();
  __HAL_RCC_GPIOC_CLK_ENABLE();
  __HAL_RCC_GPIOF_CLK_ENABLE();
  __HAL_RCC_GPIOH_CLK_ENABLE();
  __HAL_RCC_GPIOA_CLK_ENABLE();
  __HAL_RCC_GPIOB_CLK_ENABLE();
  __HAL_RCC_GPIOD_CLK_ENABLE();
  __HAL_RCC_GPIOG_CLK_ENABLE();

  /*Configure GPIO pin Output Level */
  HAL_GPIO_WritePin(GPIOB, LD3_Pin|LD2_Pin, GPIO_PIN_RESET);

  /*Configure GPIO pin Output Level */
  HAL_GPIO_WritePin(USB_PowerSwitchOn_GPIO_Port, USB_PowerSwitchOn_Pin, GPIO_PIN_RESET);

  /*Configure GPIO pin : RMII_TXD1_Pin */
  GPIO_InitStruct.Pin = RMII_TXD1_Pin;
  GPIO_InitStruct.Mode = GPIO_MODE_AF_PP;
  GPIO_InitStruct.Pull = GPIO_NOPULL;
  GPIO_InitStruct.Speed = GPIO_SPEED_FREQ_VERY_HIGH;
  GPIO_InitStruct.Alternate = GPIO_AF11_ETH;
  HAL_GPIO_Init(RMII_TXD1_GPIO_Port, &GPIO_InitStruct);

  /*Configure GPIO pin : LD3_Pin */
  GPIO_InitStruct.Pin = LD3_Pin;
  GPIO_InitStruct.Mode = GPIO_MODE_OUTPUT_OD;
  GPIO_InitStruct.Pull = GPIO_NOPULL;
  GPIO_InitStruct.Speed = GPIO_SPEED_FREQ_LOW;
  HAL_GPIO_Init(LD3_GPIO_Port, &GPIO_InitStruct);

  /*Configure GPIO pin : USB_PowerSwitchOn_Pin */
  GPIO_InitStruct.Pin = USB_PowerSwitchOn_Pin;
  GPIO_InitStruct.Mode = GPIO_MODE_OUTPUT_PP;
  GPIO_InitStruct.Pull = GPIO_NOPULL;
  GPIO_InitStruct.Speed = GPIO_SPEED_FREQ_LOW;
  HAL_GPIO_Init(USB_PowerSwitchOn_GPIO_Port, &GPIO_InitStruct);

  /*Configure GPIO pin : USB_OverCurrent_Pin */
  GPIO_InitStruct.Pin = USB_OverCurrent_Pin;
  GPIO_InitStruct.Mode = GPIO_MODE_INPUT;
  GPIO_InitStruct.Pull = GPIO_NOPULL;
  HAL_GPIO_Init(USB_OverCurrent_GPIO_Port, &GPIO_InitStruct);

  /*Configure GPIO pin : LD2_Pin */
  GPIO_InitStruct.Pin = LD2_Pin;
  GPIO_InitStruct.Mode = GPIO_MODE_OUTPUT_PP;
  GPIO_InitStruct.Pull = GPIO_NOPULL;
  GPIO_InitStruct.Speed = GPIO_SPEED_FREQ_LOW;
  HAL_GPIO_Init(LD2_GPIO_Port, &GPIO_InitStruct);

}

void Error_Handler(void)
{
  /* USER CODE BEGIN Error_Handler_Debug */
  /* User can add his own implementation to report the HAL error return state */
  __disable_irq();
  char str[100] = "Error handler!\r\n";
  HAL_UART_Transmit(&huart3, str, strlen((char*)str), HAL_MAX_DELAY);

  while (1)
  {
  }
  /* USER CODE END Error_Handler_Debug */
}
